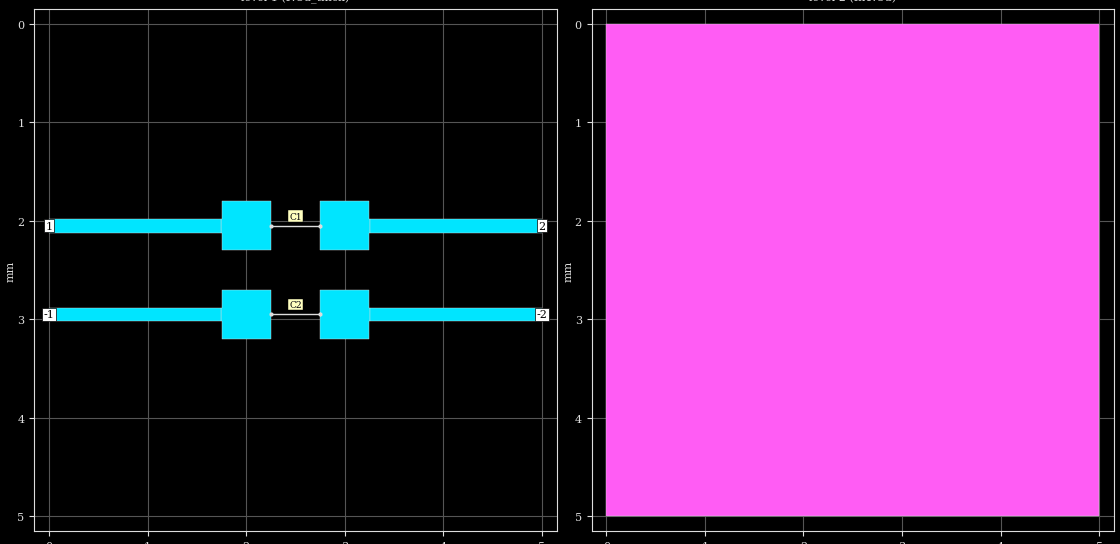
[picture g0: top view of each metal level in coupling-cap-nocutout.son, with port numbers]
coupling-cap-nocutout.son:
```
FTYP SONPROJ 19 ! Sonnet Project File
VER 18.52
HEADER
LIC antikernel2.1.51176
DAT 12/11/2021 13:30:31
BUILT_BY_CREATED xgeom 18.52 11/18/2021 20:28:07
BUILT_BY_SAVED sonnet 18.52
MDATE 11/29/2021 07:29:56
HDATE 11/29/2021 07:29:56
END HEADER
DIM
ANG DEG
CAP PF
CON /OH
FREQ GHZ
IND NH
LNG MM
RES OH
END DIM
CONTROL
VARSWP
OPTIONS  -dj
SPEED 0
CACHE_ABS 2
Q_ACC N
END CONTROL
GEO
DRP1 LEFT LINK
POLY 554 1
0
DRP1 RIGHT LINK
POLY 549 1
0
TMET "Free Space" 0 FREESPACE 376.7303136 0 0 0
BMET "Free Space" 0 FREESPACE 376.7303136 0 0 0
MET "Copper_1oz_thin" 1 NOR 58000000 0.5 0.035 
MET "Copper_1oz_thick" 2 TMM 58000000 0.5 0.035 2
MET "Copper_1oz_thick_down" 3 TMM 58000000 0.5 0.035 2 CDVY TDWN
MET "Copper_0.5oz_thin" 4 NOR 58000000 0.5 0.017 
MET "Copper_0.5oz_thick" 12 TMM 58000000 0.5 0.017 2
MET "Copper_0.5oz_thick_down" 5 TMM 58000000 0.5 0.017 2 CDVY TDWN
BOX 12 5 5 1000 1000 20 0
      5 1 1 0 0 0 0 "Air"
      0.04 3.5 1 0.025 0 0 0 "Soldermask"
      0.075 3.39 1 0.004 0 0 0 "Panasonic_R-5775(G)"
      0.068 3.56 1 0.004 0 0 0 "Panasonic_R-5670(G)"
      0.13 3.39 1 0.004 0 0 0 "Panasonic_R-5775(G)"
      0.092 3.56 1 0.004 0 0 0 "Panasonic_R-5670(G)"
      0.609 3.39 1 0.004 0 0 0 "Panasonic_R-5775(G)"
      0.092 3.56 1 0.004 0 0 0 "Panasonic_R-5670(G)"
      0.13 3.39 1 0.004 0 0 0 "Panasonic_R-5775(G)"
      0.068 3.56 1 0.004 0 0 0 "Panasonic_R-5670(G)"
      0.075 3.39 1 0.004 0 0 0 "Panasonic_R-5775(G)"
      0.04 3.5 1 0.025 0 0 0 "Soldermask"
      5 1 1 0 0 0 0 "Air"
TECHLAY METAL F.Cu_thin <UNSPECIFIED> -1 -65534 CAD F.Cu_thin drawing 
1 0 0 N 582 1 1 100 100 0 0 0 Y
END
END
TECHLAY METAL F.Cu_thick <UNSPECIFIED> -2 -65534 CAD F.Cu_thick drawing 
1 0 1 N 584 1 1 100 100 0 0 0 Y
END
END
TECHLAY VIA Via1 <UNSPECIFIED> -13 -65534 CAD Via1 drawing 
VIA POLYGON
1 0 -1 N 590 1 1 100 100 0 0 0 Y
TOLEVEL 10 RING NOCOVERS
END
END
TECHLAY METAL In1.Cu <UNSPECIFIED> -3 -65534 CAD In1.Cu drawing 
2 0 0 N 597 1 1 100 100 0 0 0 Y
END
END
TECHLAY METAL In2.Cu_thin <UNSPECIFIED> -4 -65534 CAD In2.Cu drawing 
3 0 3 N 600 1 1 100 100 0 0 0 Y
END
END
TECHLAY METAL In2.Cu_thick <UNSPECIFIED> -5 -65534 CAD In2.Cu_thick drawing 
3 0 4 N 602 1 1 100 100 0 0 0 Y
END
END
TECHLAY METAL In3.Cu <UNSPECIFIED> -6 -65534 CAD In3.Cu drawing 
4 0 0 N 605 1 1 100 100 0 0 0 Y
END
END
TECHLAY METAL In4.Cu <UNSPECIFIED> -7 -65534 CAD In4.Cu drawing 
7 0 0 N 610 1 1 100 100 0 0 0 Y
END
END
TECHLAY METAL In5.Cu_thin <UNSPECIFIED> -8 -65534 CAD In5.Cu drawing 
8 0 3 N 613 1 1 100 100 0 0 0 Y
END
END
TECHLAY METAL In5.Cu_thick <UNSPECIFIED> -9 -65534 CAD In5.Cu_thick drawing 
8 0 5 N 615 1 1 100 100 0 0 0 Y
END
END
TECHLAY METAL In6.Cu <UNSPECIFIED> -10 -65534 CAD In6.Cu drawing 
9 0 0 N 618 1 1 100 100 0 0 0 Y
END
END
TECHLAY METAL B.Cu_thin <UNSPECIFIED> -11 -65534 CAD B.Cu_thin drawing 
10 0 0 N 621 1 1 100 100 0 0 0 Y
END
END
TECHLAY METAL B.Cu_thick <UNSPECIFIED> -12 -65534 CAD B.Cu_thick drawing 
10 0 2 N 623 1 1 100 100 0 0 0 Y
END
END
VALVAR CORE_ER NONE "table1(\"core_er.csv\",FREQ)" "Variable set in material file"
VALVAR CORE_DF NONE "table1(\"core_df.csv\",FREQ)" "Variable set in material file"
VALVAR PREPREG_DF NONE "table1(\"prepreg_df.csv\",FREQ)" "Variable set in material file"
VALVAR PREPREG_ER NONE "table1(\"prepreg_er.csv\",FREQ)" "Variable set in material file"
LORGN 0 5 U 
POR1 BOX
POLY 549 1
2
2 100 0 0 0 5 2.05 
POR1 BOX
POLY 552 1
2
-2 100 0 0 0 5 2.95 
POR1 BOX
POLY 554 1
2
1 100 0 0 0 0 2.05 
POR1 BOX
POLY 557 1
2
-1 100 0 0 0 0 2.95 
SMD 1 "C1"
ID 559
GNDREF FLOAT
DRP1 LEFT NONE 1
DRP1 RIGHT NONE 1
SBOX 2.375 2.625 1.925 2.175
PBSHW Y
PBOX 2.25 2.75 1.925 2.175
PKG 0.5 0.5 0.5
LPOS 2.5 1.925
TYPE SPARAM 1
SMDP 1 2.25 2.05 L 3 1 
EXSMDP
GNDREF FLOAT
TERMW FEED
END EXSMDP
SMDP 1 2.75 2.05 R 4 2 
EXSMDP
GNDREF FLOAT
TERMW FEED
END EXSMDP
END
SMD 1 "C2"
ID 564
GNDREF FLOAT
DRP1 RIGHT NONE 1
DRP1 LEFT NONE 1
SBOX 2.375 2.625 2.825 3.075
PBSHW Y
PBOX 2.25 2.75 2.825 3.075
PKG 0.5 0.5 0.5
LPOS 2.5 2.825
TYPE SPARAM 1
SMDP 1 2.25 2.95 L 5 1 
EXSMDP
GNDREF FLOAT
TERMW FEED
END EXSMDP
SMDP 1 2.75 2.95 R 6 2 
EXSMDP
GNDREF FLOAT
TERMW FEED
END EXSMDP
END
NUM 9
1 9 1 N 482 1 1 100 100 0 0 0 Y
TLAYNAM F.Cu_thick INH
3.25 2.12
3.26 2.12
3.26 1.98
3.25 1.98
3.25 1.8
2.75 1.8
2.75 2.3
3.25 2.3
3.25 2.12
END
1 9 1 N 483 1 1 100 100 0 0 0 Y
TLAYNAM F.Cu_thick INH
2.25 1.8
1.75 1.8
1.75 1.98
1.74 1.98
1.74 2.12
1.75 2.12
1.75 2.3
2.25 2.3
2.25 1.8
END
1 9 1 N 545 1 1 100 100 0 0 0 Y
TLAYNAM F.Cu_thick INH
2.25 3.2
1.75 3.2
1.75 3.02
1.74 3.02
1.74 2.88
1.75 2.88
1.75 2.7
2.25 2.7
2.25 3.2
END
1 9 1 N 546 1 1 100 100 0 0 0 Y
TLAYNAM F.Cu_thick INH
3.25 2.88
3.26 2.88
3.26 3.02
3.25 3.02
3.25 3.2
2.75 3.2
2.75 2.7
3.25 2.7
3.25 2.88
END
1 5 1 N 549 1 1 100 100 0 0 0 Y
TLAYNAM F.Cu_thick INH
3.26 2.12
3.26 1.98
5 1.98
5 2.12
3.26 2.12
END
1 5 1 N 552 1 1 100 100 0 0 0 Y
TLAYNAM F.Cu_thick INH
3.26 2.88
3.26 3.02
5 3.02
5 2.88
3.26 2.88
END
1 5 1 N 554 1 1 100 100 0 0 0 Y
TLAYNAM F.Cu_thick INH
1.74 1.98
1.74 2.12
0 2.12
0 1.98
1.74 1.98
END
1 5 1 N 557 1 1 100 100 0 0 0 Y
TLAYNAM F.Cu_thick INH
1.74 3.02
1.74 2.88
0 2.88
0 3.02
1.74 3.02
END
2 5 0 N 456 1 1 100 100 0 0 0 Y
TLAYNAM In1.Cu INH
0 0
5 0
5 5
0 5
0 0
END
END GEO
OPT
MAX 100
END OPT
VARSWP
ENABLED Y
FREQ Y AY ABS_ENTRY 0.4 24.0 -1 300 
END
END VARSWP
3DOPTIONS
GLOBAL 1
ALL 13 1
END 3DOPTIONS
SMDFILES
1 "../../../../../ceph/bulk/datasheets/ATC/560l.s2p"
END SMDFILES
```
